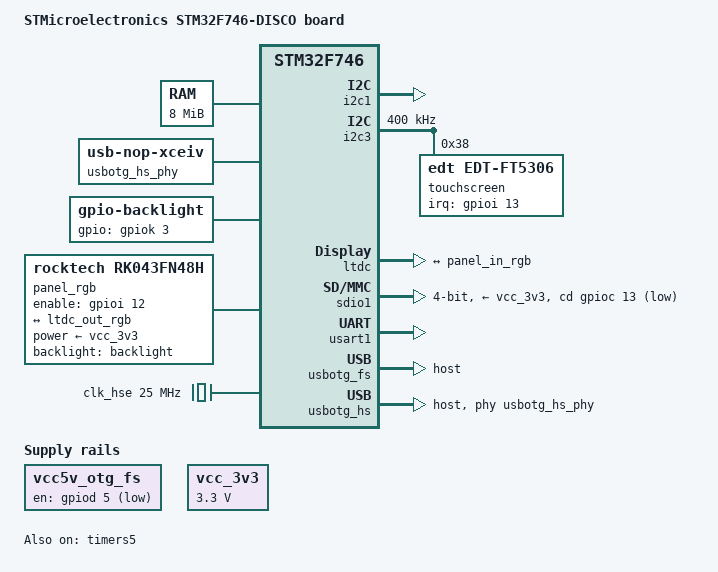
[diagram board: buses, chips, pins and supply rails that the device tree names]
/*
 * Copyright 2017 - Vikas MANOCHA <vikas.manocha@st.com>
 *
 * This file is dual-licensed: you can use it either under the terms
 * of the GPL or the X11 license, at your option. Note that this dual
 * licensing only applies to this file, and not this project as a
 * whole.
 *
 *  a) This file is free software; you can redistribute it and/or
 *     modify it under the terms of the GNU General Public License as
 *     published by the Free Software Foundation; either version 2 of the
 *     License, or (at your option) any later version.
 *
 *     This file is distributed in the hope that it will be useful,
 *     but WITHOUT ANY WARRANTY; without even the implied warranty of
 *     MERCHANTABILITY or FITNESS FOR A PARTICULAR PURPOSE.  See the
 *     GNU General Public License for more details.
 *
 * Or, alternatively,
 *
 *  b) Permission is hereby granted, free of charge, to any person
 *     obtaining a copy of this software and associated documentation
 *     files (the "Software"), to deal in the Software without
 *     restriction, including without limitation the rights to use,
 *     copy, modify, merge, publish, distribute, sublicense, and/or
 *     sell copies of the Software, and to permit persons to whom the
 *     Software is furnished to do so, subject to the following
 *     conditions:
 *
 *     The above copyright notice and this permission notice shall be
 *     included in all copies or substantial portions of the Software.
 *
 *     THE SOFTWARE IS PROVIDED "AS IS", WITHOUT WARRANTY OF ANY KIND,
 *     EXPRESS OR IMPLIED, INCLUDING BUT NOT LIMITED TO THE WARRANTIES
 *     OF MERCHANTABILITY, FITNESS FOR A PARTICULAR PURPOSE AND
 *     NONINFRINGEMENT. IN NO EVENT SHALL THE AUTHORS OR COPYRIGHT
 *     HOLDERS BE LIABLE FOR ANY CLAIM, DAMAGES OR OTHER LIABILITY,
 *     WHETHER IN AN ACTION OF CONTRACT, TORT OR OTHERWISE, ARISING
 *     FROM, OUT OF OR IN CONNECTION WITH THE SOFTWARE OR THE USE OR
 *     OTHER DEALINGS IN THE SOFTWARE.
 */

/dts-v1/;
#include "stm32f746.dtsi"
#include "stm32f746-pinctrl.dtsi"
#include <dt-bindings/gpio/gpio.h>
#include <dt-bindings/input/input.h>
#include <dt-bindings/interrupt-controller/irq.h>

/ {
	model = "STMicroelectronics STM32F746-DISCO board";
	compatible = "st,stm32f746-disco", "st,stm32f746";

	chosen {
		bootargs = "root=/dev/ram";
		stdout-path = "serial0:115200n8";
	};

	memory@c0000000 {
		device_type = "memory";
		reg = <0xC0000000 0x800000>;
	};

	reserved-memory {
		#address-cells = <1>;
		#size-cells = <1>;
		ranges;

		linux,cma {
			compatible = "shared-dma-pool";
			no-map;
			size = <0x80000>;
			linux,dma-default;
		};
	};

	aliases {
		serial0 = &usart1;
	};

	usbotg_hs_phy: usb-phy {
		#phy-cells = <0>;
		compatible = "usb-nop-xceiv";
		clocks = <&rcc 0 STM32F7_AHB1_CLOCK(OTGHSULPI)>;
		clock-names = "main_clk";
	};

	/* This turns on vbus for otg fs for host mode (dwc2) */
	vcc5v_otg_fs: vcc5v-otg-fs-regulator {
		compatible = "regulator-fixed";
		gpio = <&gpiod 5 0>;
		regulator-name = "vcc5_host1";
		regulator-always-on;
	};

	vcc_3v3: vcc-3v3 {
		compatible = "regulator-fixed";
		regulator-name = "vcc_3v3";
		regulator-min-microvolt = <3300000>;
		regulator-max-microvolt = <3300000>;
	};

	backlight: backlight {
		compatible = "gpio-backlight";
		gpios = <&gpiok 3 GPIO_ACTIVE_HIGH>;
		status = "okay";
	};

	panel_rgb: panel-rgb {
		compatible = "rocktech,rk043fn48h";
		power-supply = <&vcc_3v3>;
		backlight = <&backlight>;
		enable-gpios = <&gpioi 12 GPIO_ACTIVE_HIGH>;
		status = "okay";
		port {
			panel_in_rgb: endpoint {
				remote-endpoint = <&ltdc_out_rgb>;
			};
		};
	};
};

&clk_hse {
	clock-frequency = <25000000>;
};

&i2c1 {
	pinctrl-0 = <&i2c1_pins_b>;
	pinctrl-names = "default";
	i2c-scl-rising-time-ns = <185>;
	i2c-scl-falling-time-ns = <20>;
	status = "okay";
};

&i2c3 {
	pinctrl-0 = <&i2c3_pins_a>;
	pinctrl-names = "default";
	clock-frequency = <400000>;
	status = "okay";

	touchscreen@38 {
		compatible = "edt,edt-ft5306";
		reg = <0x38>;
		interrupt-parent = <&gpioi>;
		interrupts = <13 IRQ_TYPE_EDGE_FALLING>;
		touchscreen-size-x = <480>;
		touchscreen-size-y = <272>;
	};
};

&ltdc {
	pinctrl-0 = <&ltdc_pins_a>;
	pinctrl-names = "default";
	status = "okay";

	port {
		ltdc_out_rgb: endpoint {
			remote-endpoint = <&panel_in_rgb>;
		};
	};
};

&sdio1 {
	status = "okay";
	vmmc-supply = <&vcc_3v3>;
	cd-gpios = <&gpioc 13 GPIO_ACTIVE_LOW>;
	pinctrl-names = "default", "opendrain", "sleep";
	pinctrl-0 = <&sdio_pins_a>;
	pinctrl-1 = <&sdio_pins_od_a>;
	pinctrl-2 = <&sdio_pins_sleep_a>;
	bus-width = <4>;
};

&timers5 {
	/* Override timer5 to act as clockevent */
	compatible = "st,stm32-timer";
	interrupts = <50>;
	status = "okay";
	/delete-property/#address-cells;
	/delete-property/#size-cells;
	/delete-property/clock-names;
	/delete-node/pwm;
	/delete-node/timer@4;
};

&usart1 {
	pinctrl-0 = <&usart1_pins_b>;
	pinctrl-names = "default";
	status = "okay";
};

&usbotg_fs {
	dr_mode = "host";
	pinctrl-0 = <&usbotg_fs_pins_a>;
	pinctrl-names = "default";
	status = "okay";
};

&usbotg_hs {
	dr_mode = "host";
	phys = <&usbotg_hs_phy>;
	phy-names = "usb2-phy";
	pinctrl-0 = <&usbotg_hs_pins_b>;
	pinctrl-names = "default";
	status = "okay";
};
